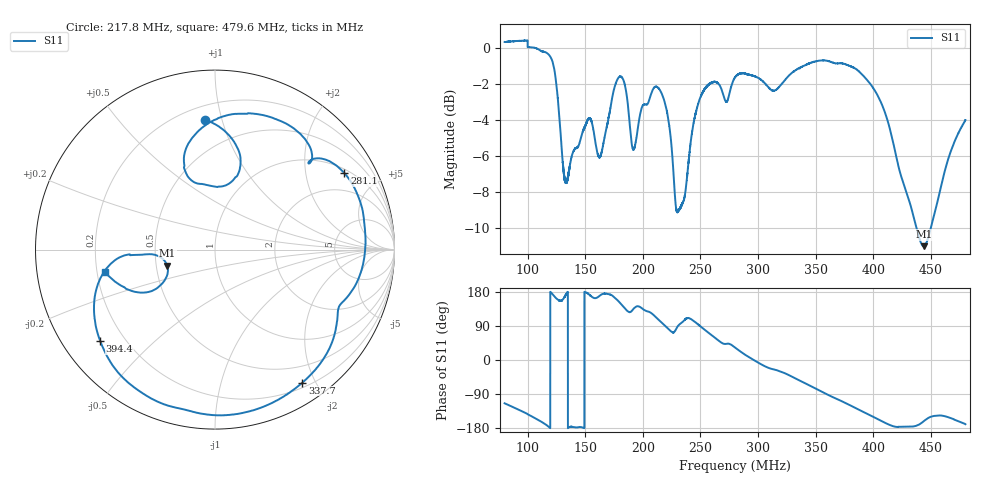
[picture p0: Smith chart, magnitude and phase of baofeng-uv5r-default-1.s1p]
# HZ S RI R 50
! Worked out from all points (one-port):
!   8080 points, 80 MHz to 480 MHz, reference 50 ohm
!   lowest |S11| = -11.0 dB at 443.8 MHz (marker M1), VSWR 1.78, Z = 28.6 - j5.5 ohm
!   |S11| at or under -10 dB: 437.5 MHz to 450 MHz (12.58 MHz wide, 2.83 % of centre)
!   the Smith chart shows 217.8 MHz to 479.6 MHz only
!   S11 on the Smith chart (normalised r, x): 217.8 MHz: 0.29, +0.88; 281.1 MHz: 1.15, +3.28; 337.7 MHz: 0.26, -1.83; 394.4 MHz: 0.11, -0.34; 479.6 MHz: 0.23, -0.09
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8e7  -0.427 -0.9485
1.164896e8  -0.9607 -0.1356
1.24956e8  -0.7506 0.2412
1.300061e8  -0.4639 0.1887
1.376308e8  -0.4894 -0.0317
1.67684e8  -0.5818 0.0495
1.800122e8  -0.7309 0.3999
1.891222e8  -0.3504 0.4743
1.945189e8  -0.4401 0.3536
2.066986e8  -0.4237 0.6035
2.178386e8  -0.0563 0.7244
2.248197e8  0.1408 0.518
2.300183e8  0.0139 0.3486
2.415544e8  -0.1714 0.5208
2.538826e8  0.1428 0.7565
2.800244e8  0.696 0.452
2.810642e8  0.7207 0.4265
2.964621e8  0.8365 -0.00575
3.300306e8  0.6069 -0.6041
3.377048e8  0.4871 -0.7405
3.576082e8  0.0463 -0.9229
3.800367e8  -0.4421 -0.7736
3.943948e8  -0.6397 -0.5084
4.155856e8  -0.5719 -0.0705
4.300428e8  -0.3854 -0.0257
4.438068e8  -0.2665 -0.0886
4.795538e8  -0.6144 -0.1244
4.799994e8  -0.6194 -0.1167
